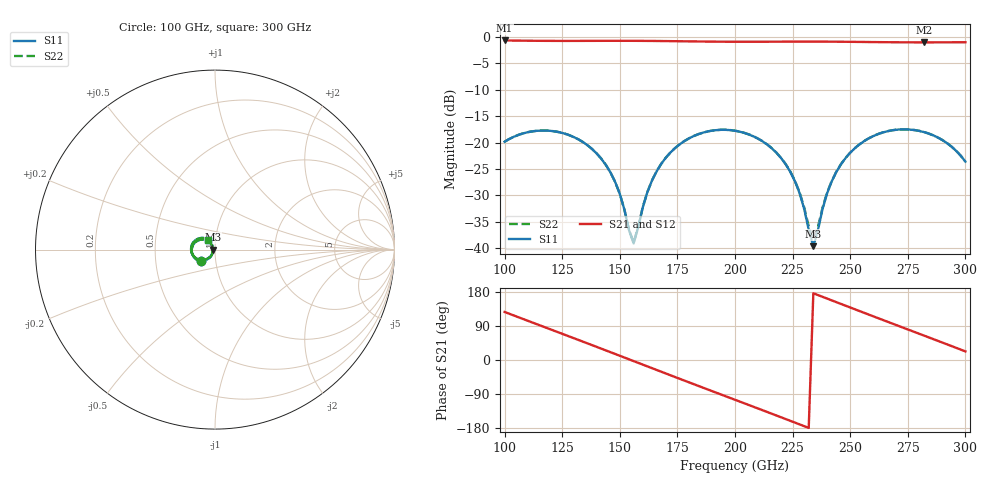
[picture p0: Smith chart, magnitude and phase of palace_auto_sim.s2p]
#  GHZ S DB R 50
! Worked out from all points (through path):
!   101 points, 100 GHz to 300 GHz, reference 50 ohm
!   highest |S21| = -0.72 dB at 100 GHz (marker M1); lowest = -1.1 dB at 282 GHz (marker M2)
!   group delay of S21, straight-line fit = 6.45 ps
!   lowest |S11| = -39.6 dB at 234 GHz (marker M3), VSWR 1.02, Z = 49 + j0.0368 ohm
!   |S11| at or under -10 dB: start of sweep to end of sweep
!   |S22| runs from -38.9 to -17.5 dB; largest |S21 - S12| = 1e-13
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100  -19.84 -140.2  -0.72 126.7  -0.72 126.7  -19.84 -139.9
116  -17.73 -174.6  -0.79 89.9  -0.79 89.9  -17.72 -174.2
124  -18.08 168.3  -0.80 71.5  -0.80 71.5  -18.07 168.7
134  -19.91 147.4  -0.80 48.4  -0.80 48.4  -19.90 147.8
146  -25.69 126.4  -0.79 20.5  -0.79 20.5  -25.68 127.0
150  -29.72 124.8  -0.79 11.2  -0.79 11.2  -29.69 125.6
156  -39.06 -174.8  -0.79 -2.9  -0.79 -2.9  -38.89 -174.4
162  -29.33 -121.4  -0.80 -16.9  -0.80 -16.9  -29.30 -121.2
168  -24.02 -126.2  -0.83 -31.0  -0.83 -31.0  -24.00 -125.9
184  -18.44 -157.2  -0.91 -68.1  -0.91 -68.1  -18.43 -156.6
200  -17.77 168.7  -0.96 -105.0  -0.96 -105.0  -17.76 169.5
212  -19.78 143.7  -0.96 -132.6  -0.96 -132.6  -19.76 144.7
222  -24.11 125.2  -0.94 -155.8  -0.94 -155.8  -24.06 126.9
228  -29.52 120.4  -0.94 -169.9  -0.94 -169.9  -29.37 123.1
234  -39.57 177.9  -0.94 176.1  -0.94 176.1  -38.39 178.2
240  -29.56 -123.3  -0.94 162.0  -0.94 162.0  -29.43 -125.4
246  -24.11 -128.0  -0.96 148.0  -0.96 148.0  -24.07 -129.0
258  -19.22 -150.5  -1.02 120.0  -1.02 120.0  -19.21 -150.8
268  -17.71 -171.3  -1.06 96.8  -1.06 96.8  -17.69 -171.4
282  -18.02 159.2  -1.08 64.5  -1.08 64.5  -18.01 159.3
292  -20.10 138.8  -1.07 41.4  -1.07 41.4  -20.09 139.1
300  -23.60 124.5  -1.06 22.7  -1.06 22.7  -23.58 125.1
